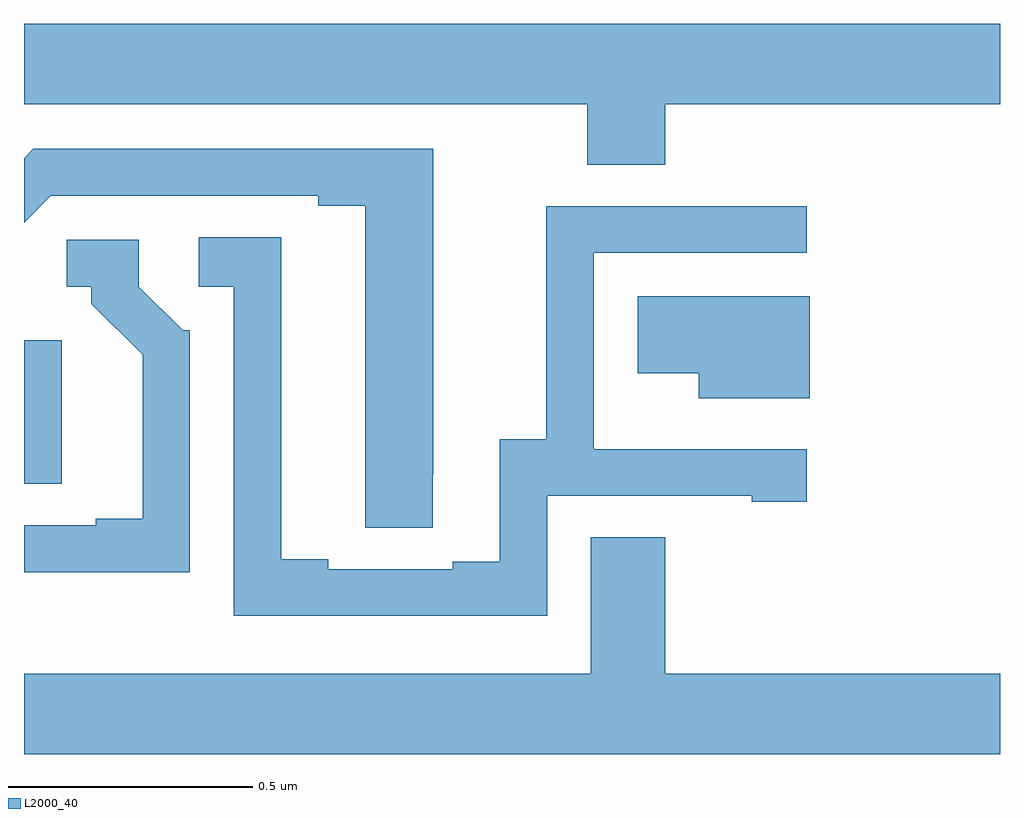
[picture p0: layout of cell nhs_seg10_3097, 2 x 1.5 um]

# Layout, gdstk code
import gdstk
lib = gdstk.Library(unit=1e-6, precision=1e-09)
def R(c, l, rs):  # rectangles x0, y0, x1, y1
    for r in rs: c.add(gdstk.rectangle(r[:2], r[2:], *l))
def P(c, l, *ps):  # polygons
    for p in ps: c.add(gdstk.Polygon(p, *l))
L2000_40 = (2000, 40)

nhs_seg10_3097 = lib.new_cell('nhs_seg10_3097')
R(nhs_seg10_3097, L2000_40, [(149,1282.222,149.077,1282.516)])
P(nhs_seg10_3097, L2000_40, [(150.314,1283),(151,1283),(151,1283.164),(149,1283.164),(149,1283),(150.154,1283),(150.154,1282.876),(150.314,1282.876)],
  [(149.838,1282.24),(149.839,1282.24),(149.839,1282.908),(149.019,1282.908),(149,1282.889),(149,1282.757),(149.055,1282.812),(149.603,1282.812),(149.603,1282.792),(149.699,1282.792),(149.699,1282.132),(149.838,1282.132)],
  [(150.072,1282.197),(150.491,1282.197),(150.491,1282.185),(150.604,1282.185),(150.604,1282.293),(150.17,1282.293),(150.17,1282.294),(150.168,1282.294),(150.168,1282.695),(150.604,1282.695),(150.604,1282.791),(150.07,1282.791),(150.07,1282.313),(149.975,1282.313),(149.975,1282.062),(149.879,1282.062),(149.879,1282.047),(149.623,1282.047),(149.623,1282.067),(149.527,1282.067),(149.527,1282.727),(149.358,1282.727),(149.358,1282.626),(149.43,1282.626),(149.43,1281.951),(150.072,1281.951)],
  [(149.34,1282.536),(149.325,1282.536),(149.235,1282.626),(149.235,1282.722),(149.088,1282.722),(149.088,1282.626),(149.138,1282.626),(149.138,1282.591),(149.243,1282.486),(149.243,1282.15),(149.147,1282.15),(149.147,1282.137),(149,1282.137),(149,1282.041),(149.077,1282.041),(149.077,1282.04),(149.34,1282.04)],
  [(150.61,1282.606),(150.258,1282.606),(150.258,1282.448),(150.383,1282.448),(150.383,1282.397),(150.61,1282.397)],
  [(151,1281.832),(150.314,1281.832),(150.314,1282.112),(150.161,1282.112),(150.161,1281.832),(149,1281.832),(149,1281.668),(151,1281.668)])

lib.write_gds('nhs_seg10_3097.gds')
